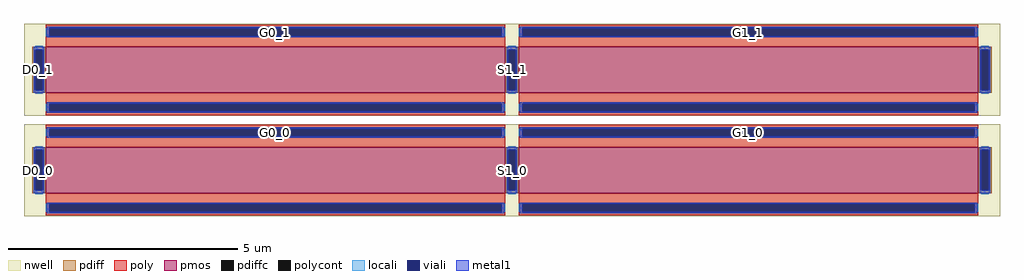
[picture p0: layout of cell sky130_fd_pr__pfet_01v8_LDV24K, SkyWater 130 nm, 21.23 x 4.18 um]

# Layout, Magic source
magic
tech sky130A
magscale 1 2
<< nwell >>
rect -2123 18 2123 418
rect -2123 -418 2123 -18
<< pmos >>
rect -2029 118 -29 318
rect 29 118 2029 318
rect -2029 -318 -29 -118
rect 29 -318 2029 -118
<< pdiff >>
rect -2087 306 -2029 318
rect -2087 130 -2075 306
rect -2041 130 -2029 306
rect -2087 118 -2029 130
rect -29 306 29 318
rect -29 130 -17 306
rect 17 130 29 306
rect -29 118 29 130
rect 2029 306 2087 318
rect 2029 130 2041 306
rect 2075 130 2087 306
rect 2029 118 2087 130
rect -2087 -130 -2029 -118
rect -2087 -306 -2075 -130
rect -2041 -306 -2029 -130
rect -2087 -318 -2029 -306
rect -29 -130 29 -118
rect -29 -306 -17 -130
rect 17 -306 29 -130
rect -29 -318 29 -306
rect 2029 -130 2087 -118
rect 2029 -306 2041 -130
rect 2075 -306 2087 -130
rect 2029 -318 2087 -306
<< pdiffc >>
rect -2075 130 -2041 306
rect -17 130 17 306
rect 2041 130 2075 306
rect -2075 -306 -2041 -130
rect -17 -306 17 -130
rect 2041 -306 2075 -130
<< poly >>
rect -2029 399 -29 415
rect -2029 365 -2013 399
rect -45 365 -29 399
rect -2029 318 -29 365
rect 29 399 2029 415
rect 29 365 45 399
rect 2013 365 2029 399
rect 29 318 2029 365
rect -2029 71 -29 118
rect -2029 37 -2013 71
rect -45 37 -29 71
rect -2029 21 -29 37
rect 29 71 2029 118
rect 29 37 45 71
rect 2013 37 2029 71
rect 29 21 2029 37
rect -2029 -37 -29 -21
rect -2029 -71 -2013 -37
rect -45 -71 -29 -37
rect -2029 -118 -29 -71
rect 29 -37 2029 -21
rect 29 -71 45 -37
rect 2013 -71 2029 -37
rect 29 -118 2029 -71
rect -2029 -365 -29 -318
rect -2029 -399 -2013 -365
rect -45 -399 -29 -365
rect -2029 -415 -29 -399
rect 29 -365 2029 -318
rect 29 -399 45 -365
rect 2013 -399 2029 -365
rect 29 -415 2029 -399
<< polycont >>
rect -2013 365 -45 399
rect 45 365 2013 399
rect -2013 37 -45 71
rect 45 37 2013 71
rect -2013 -71 -45 -37
rect 45 -71 2013 -37
rect -2013 -399 -45 -365
rect 45 -399 2013 -365
<< locali >>
rect -2029 365 -2013 399
rect -45 365 -29 399
rect 29 365 45 399
rect 2013 365 2029 399
rect -2075 306 -2041 322
rect -2075 114 -2041 130
rect -17 306 17 322
rect -17 114 17 130
rect 2041 306 2075 322
rect 2041 114 2075 130
rect -2029 37 -2013 71
rect -45 37 -29 71
rect 29 37 45 71
rect 2013 37 2029 71
rect -2029 -71 -2013 -37
rect -45 -71 -29 -37
rect 29 -71 45 -37
rect 2013 -71 2029 -37
rect -2075 -130 -2041 -114
rect -2075 -322 -2041 -306
rect -17 -130 17 -114
rect -17 -322 17 -306
rect 2041 -130 2075 -114
rect 2041 -322 2075 -306
rect -2029 -399 -2013 -365
rect -45 -399 -29 -365
rect 29 -399 45 -365
rect 2013 -399 2029 -365
<< viali >>
rect -2013 365 -45 399
rect 45 365 2013 399
rect -2075 130 -2041 306
rect -17 130 17 306
rect 2041 130 2075 306
rect -2013 37 -45 71
rect 45 37 2013 71
rect -2013 -71 -45 -37
rect 45 -71 2013 -37
rect -2075 -306 -2041 -130
rect -17 -306 17 -130
rect 2041 -306 2075 -130
rect -2013 -399 -45 -365
rect 45 -399 2013 -365
<< metal1 >>
rect -2025 399 -33 405
rect -2025 365 -2013 399
rect -45 365 -33 399
rect -2025 359 -33 365
rect 33 399 2025 405
rect 33 365 45 399
rect 2013 365 2025 399
rect 33 359 2025 365
rect -2081 306 -2035 318
rect -2081 130 -2075 306
rect -2041 130 -2035 306
rect -2081 118 -2035 130
rect -23 306 23 318
rect -23 130 -17 306
rect 17 130 23 306
rect -23 118 23 130
rect 2035 306 2081 318
rect 2035 130 2041 306
rect 2075 130 2081 306
rect 2035 118 2081 130
rect -2025 71 -33 77
rect -2025 37 -2013 71
rect -45 37 -33 71
rect -2025 31 -33 37
rect 33 71 2025 77
rect 33 37 45 71
rect 2013 37 2025 71
rect 33 31 2025 37
rect -2025 -37 -33 -31
rect -2025 -71 -2013 -37
rect -45 -71 -33 -37
rect -2025 -77 -33 -71
rect 33 -37 2025 -31
rect 33 -71 45 -37
rect 2013 -71 2025 -37
rect 33 -77 2025 -71
rect -2081 -130 -2035 -118
rect -2081 -306 -2075 -130
rect -2041 -306 -2035 -130
rect -2081 -318 -2035 -306
rect -23 -130 23 -118
rect -23 -306 -17 -130
rect 17 -306 23 -130
rect -23 -318 23 -306
rect 2035 -130 2081 -118
rect 2035 -306 2041 -130
rect 2075 -306 2081 -130
rect 2035 -318 2081 -306
rect -2025 -365 -33 -359
rect -2025 -399 -2013 -365
rect -45 -399 -33 -365
rect -2025 -405 -33 -399
rect 33 -365 2025 -359
rect 33 -399 45 -365
rect 2013 -399 2025 -365
rect 33 -405 2025 -399
<< labels >>
rlabel pdiffc -2058 -218 -2058 -218 0 D0_0
port 1 nsew
rlabel polycont -1029 -54 -1029 -54 0 G0_0
port 2 nsew
rlabel pdiffc -2058 218 -2058 218 0 D0_1
port 3 nsew
rlabel polycont -1029 382 -1029 382 0 G0_1
port 4 nsew
rlabel pdiffc 0 -218 0 -218 0 S1_0
port 5 nsew
rlabel polycont 1029 -54 1029 -54 0 G1_0
port 6 nsew
rlabel pdiffc 0 218 0 218 0 S1_1
port 7 nsew
rlabel polycont 1029 382 1029 382 0 G1_1
port 8 nsew
<< properties >>
string gencell sky130_fd_pr__pfet_01v8
string library sky130
string parameters w 1 l 10 m 2 nf 2 diffcov 100 polycov 100 guard 0 glc 1 grc 1 gtc 1 gbc 1 tbcov 100 rlcov 100 topc 1 botc 1 poverlap 0 doverlap 1 lmin 0.15 wmin 0.42 class mosfet compatible {sky130_fd_pr__pfet_01v8  sky130_fd_pr__pfet_01v8_lvt sky130_fd_pr__pfet_01v8_hvt  sky130_fd_pr__pfet_g5v0d10v5} full_metal 1 conn_gates 0 viasrc 100 viadrn 100 viagate 100 viagb 0 viagr 0 viagl 0 viagt 0 doports 1
<< end >>
